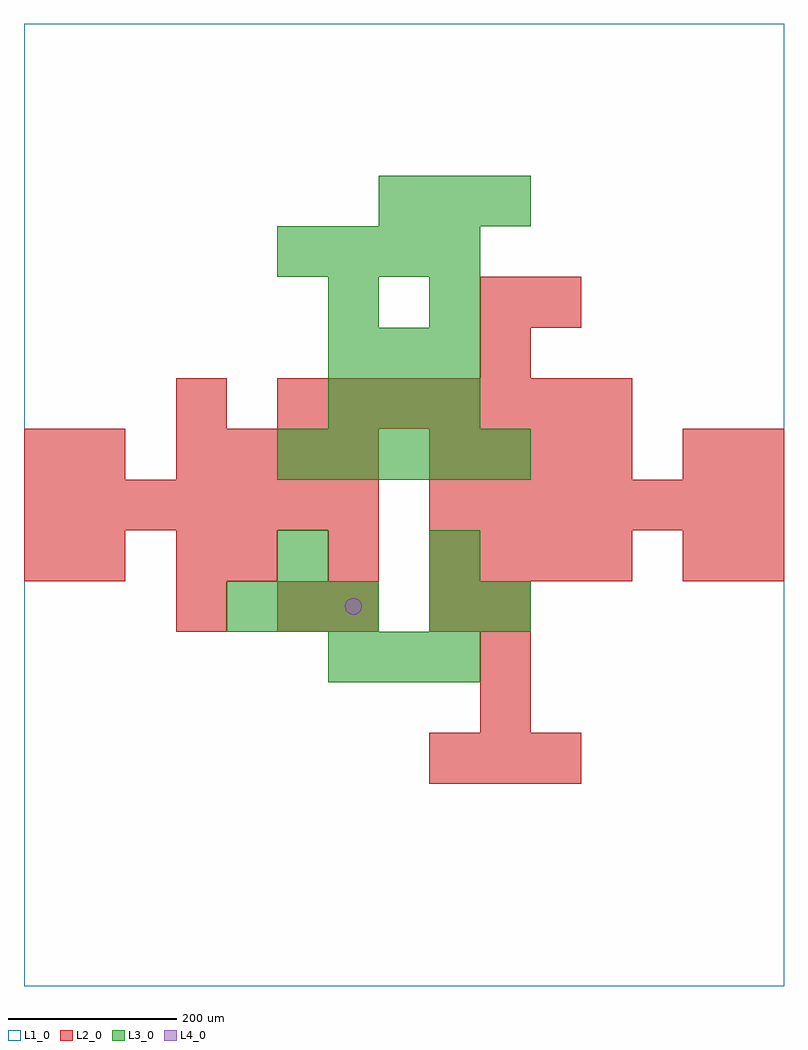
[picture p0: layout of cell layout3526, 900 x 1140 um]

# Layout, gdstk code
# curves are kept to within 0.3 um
import gdstk
lib = gdstk.Library(unit=1e-6, precision=1e-09)
def R(c, l, rs):  # rectangles x0, y0, x1, y1
    for r in rs: c.add(gdstk.rectangle(r[:2], r[2:], *l))
def A(c, l, x, y, w, h, nx, ny, dx, dy):  # array of equal rectangles
    R(c, l, [(x+i*dx, y+j*dy, x+i*dx+w, y+j*dy+h) for i in range(nx) for j in range(ny)])
def P(c, l, *ps):  # polygons
    for p in ps: c.add(gdstk.Polygon(p, *l))
L1_0 = (1, 0)
L2_0 = (2, 0)
L3_0 = (3, 0)
L4_0 = (4, 0)

layout3526 = lib.new_cell('layout3526')
R(layout3526, L1_0, [(0,0,900,1140)])
A(layout3526, L2_0, 480, 240, 60, 60, 3, 1, 60, 0)
A(layout3526, L2_0, 540, 300, 60, 60, 1, 3, 0, 60)
A(layout3526, L2_0, 240, 480, 60, 60, 3, 1, 120, 0)
A(layout3526, L2_0, 540, 480, 60, 60, 3, 1, 60, 0)
A(layout3526, L2_0, 0, 540, 60, 60, 7, 1, 60, 0)
A(layout3526, L2_0, 480, 540, 60, 60, 7, 1, 60, 0)
A(layout3526, L2_0, 180, 600, 60, 60, 4, 1, 60, 0)
A(layout3526, L2_0, 480, 600, 60, 60, 4, 1, 60, 0)
A(layout3526, L2_0, 300, 660, 60, 60, 7, 1, 60, 0)
R(layout3526, L2_0, [(180,420,240,480), (300,420,360,480), (360,420,420,480), (480,420,540,480), (0,480,60,540), (60,480,120,540), (180,480,240,540), (780,480,840,540), (840,480,900,540), (0,600,60,660), (60,600,120,660), (780,600,840,660), (840,600,900,660), (180,660,240,720), (540,720,600,780), (540,780,600,840), (600,780,660,840)])
A(layout3526, L3_0, 360, 360, 60, 60, 3, 2, 60, 300)
A(layout3526, L3_0, 240, 420, 60, 60, 3, 1, 60, 0)
A(layout3526, L3_0, 300, 600, 60, 60, 5, 1, 60, 0)
A(layout3526, L3_0, 360, 720, 60, 60, 3, 1, 60, 0)
A(layout3526, L3_0, 300, 840, 60, 60, 4, 1, 60, 0)
A(layout3526, L3_0, 420, 900, 60, 60, 3, 1, 60, 0)
R(layout3526, L3_0, [(480,420,540,480), (540,420,600,480), (300,480,360,540), (480,480,540,540), (360,780,420,840), (480,780,540,840)])
P(layout3526, L4_0, [(400,450),(399.239,453.827),(397.071,457.071),(393.827,459.239),(390,460),(386.173,459.239),(382.929,457.071),(380.761,453.827),(380,450),(380.761,446.173),(382.929,442.929),(386.173,440.761),(390,440),(393.827,440.761),(397.071,442.929),(399.239,446.173)])

lib.write_gds('layout3526.gds')
